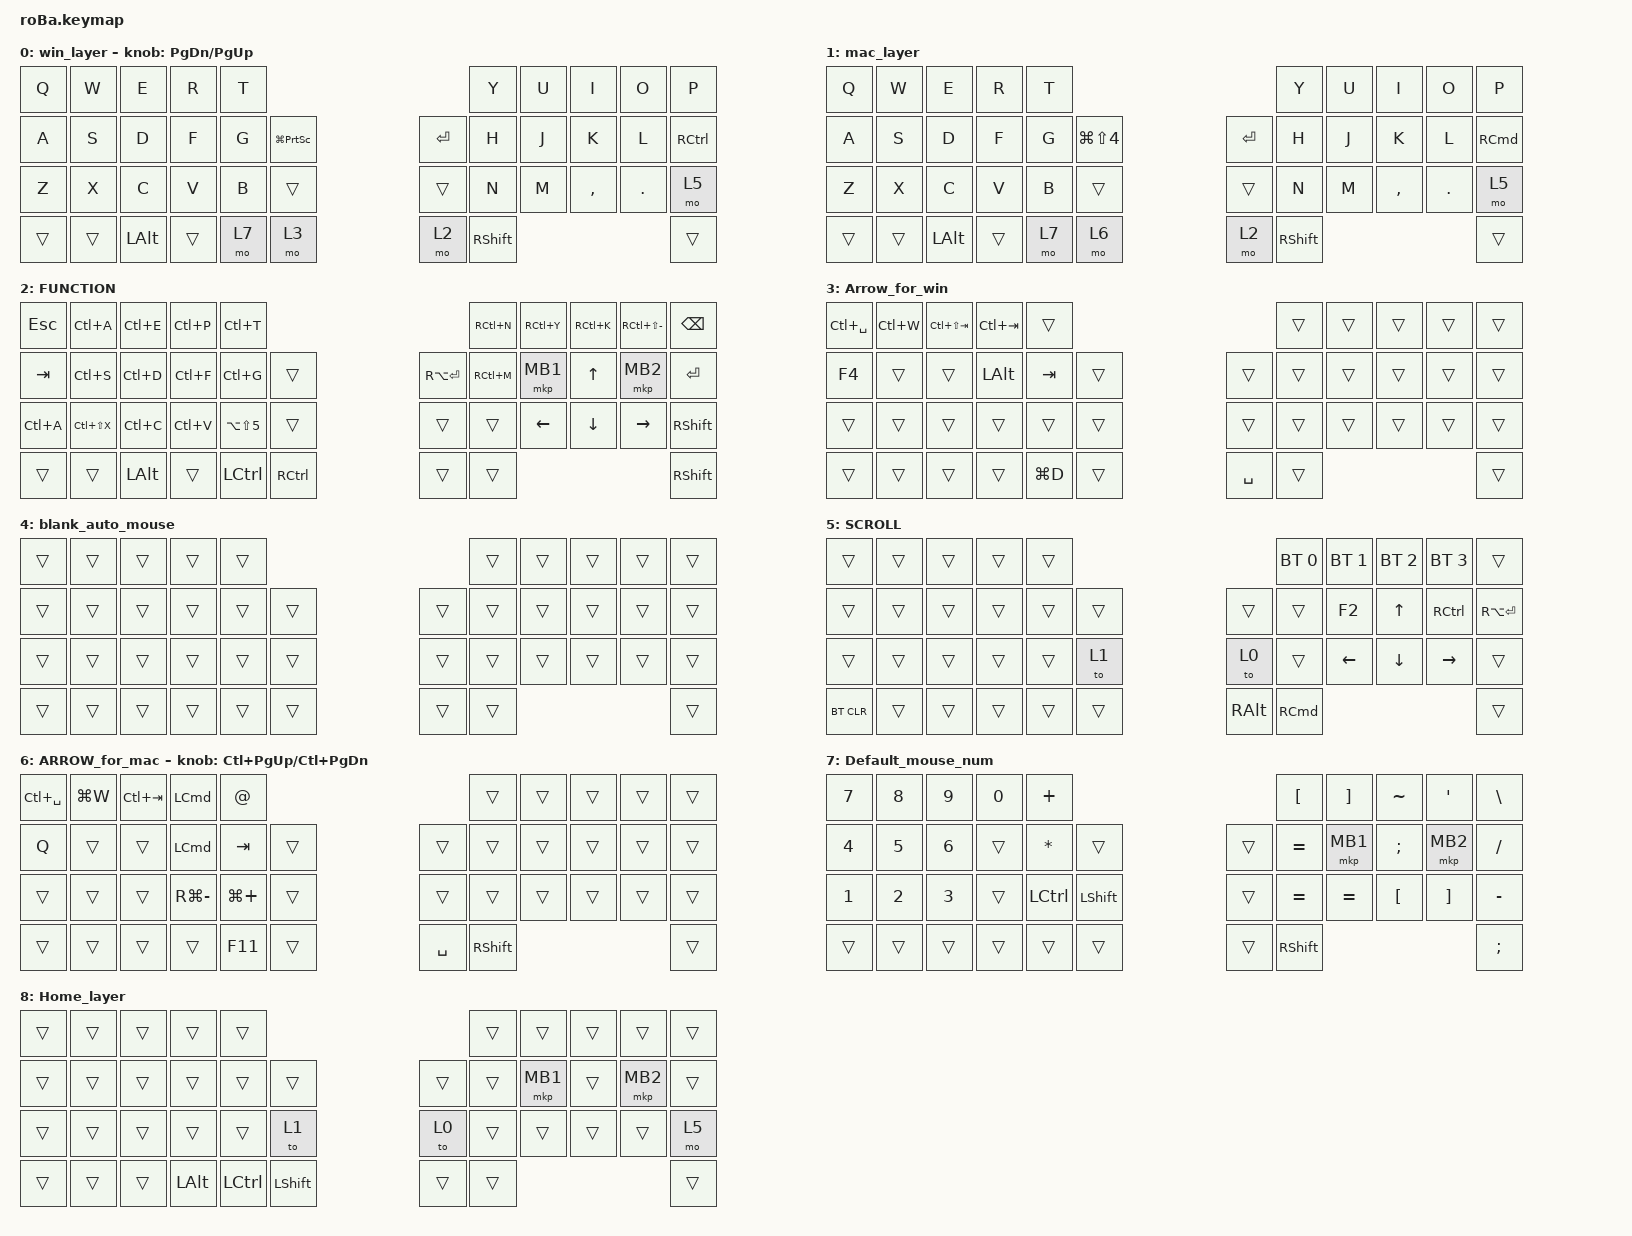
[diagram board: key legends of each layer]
#include <behaviors.dtsi>
#include <dt-bindings/zmk/bt.h>
#include <dt-bindings/zmk/keys.h>
#include <dt-bindings/zmk/pointing.h>

&mt {
    flavor = "balanced";
    quick-tap-ms = <0>;
};

&trackball {
    automouse-layer = <4>;
    scroll-layers = <5>;

    // arrows {
    //     layers = <3>;
    //     bindings =
    //         <&kp RIGHT_ARROW>,
    //         <&kp LEFT_ARROW>,
    //         <&kp UP_ARROW>,
    //         <&kp DOWN_ARROW>;
    //     tick = <10>;
    //     wait-ms = <5>;
    //     tap-ms = <5>;
    // };
};

/ {
    combos {
        compatible = "zmk,combos";

        tab {
            bindings = <&kp TAB>;
            key-positions = <11 12>;
        };

        shift_tab {
            bindings = <&kp LS(TAB)>;
            key-positions = <12 13>;
        };

        muhennkann {
            bindings = <&to_layer_0 INT_MUHENKAN>;
            key-positions = <11 10>;
        };

        double_quotation {
            bindings = <&kp DOUBLE_QUOTES>;
            key-positions = <20 21>;
        };

        eq {
            bindings = <&kp EQUAL>;
            key-positions = <24 25>;
        };
    };

    macros {
        to_layer_0: to_layer_0 {
            compatible = "zmk,behavior-macro-one-param";
            #binding-cells = <1>;
            bindings = <&macro_param_1to1 &kp MACRO_PLACEHOLDER>;
            label = "TO_LAYER_0";
        };
    };

    behaviors {
        lt_to_layer_0: lt_to_layer_0 {
            compatible = "zmk,behavior-hold-tap";
            label = "LAYER_TAP_TO_0";
            bindings = <&mo>, <&to_layer_0>;

            #binding-cells = <2>;
            tapping-term-ms = <200>;
        };
    };

    keymap {
        compatible = "zmk,keymap";

        win_layer {
            bindings = <
&kp Q   &kp W   &kp E         &kp R   &kp T                                      &kp Y            &kp U  &kp I      &kp O    &kp P
&kp A   &kp S   &kp D         &kp F   &kp G  &kp LG(PRINTSCREEN)      &kp ENTER  &kp H            &kp J  &kp K      &kp L    &kp RCTRL
&kp Z   &kp X   &kp C         &kp V   &kp B  &trans                   &trans     &kp N            &kp M  &kp COMMA  &kp DOT  &mo 5
&trans  &trans  &kp LEFT_ALT  &trans  &mo 7  &mo 3                    &mo 2      &kp RIGHT_SHIFT                             &trans
            >;

            sensor-bindings = <&inc_dec_kp PAGE_DOWN PG_UP>;
        };

        mac_layer {
            bindings = <
&kp Q   &kp W   &kp E         &kp R   &kp T                                       &kp Y            &kp U  &kp I      &kp O       &kp P
&kp A   &kp S   &kp D         &kp F   &kp G  &kp LG(LS(NUMBER_4))      &kp ENTER  &kp H            &kp J  &kp K      &kp L       &kp RIGHT_COMMAND
&kp Z   &kp X   &kp C         &kp V   &kp B  &trans                    &trans     &kp N            &kp M  &kp COMMA  &kp PERIOD  &mo 5
&trans  &trans  &kp LEFT_ALT  &trans  &mo 7  &mo 6                     &mo 2      &kp RIGHT_SHIFT                                &trans
            >;
        };

        FUNCTION {
            bindings = <
&kp ESC    &kp LC(A)      &kp LC(E)     &kp LC(P)  &kp LC(T)                                     &kp RC(N)  &kp RC(Y)  &kp RC(K)       &kp RC(LS(MINUS))  &kp BACKSPACE
&kp TAB    &kp LC(S)      &kp LC(D)     &kp LC(F)  &kp LC(G)       &trans         &kp RA(ENTER)  &kp RC(M)  &mkp MB1   &kp UP_ARROW    &mkp MB2           &kp ENTER
&kp LC(A)  &kp LC(LS(X))  &kp LC(C)     &kp LC(V)  &kp LA(LS(N5))  &trans         &trans         &trans     &kp LEFT   &kp DOWN_ARROW  &kp RIGHT          &kp RIGHT_SHIFT
&trans     &trans         &kp LEFT_ALT  &trans     &kp LCTRL       &kp RCTRL      &trans         &trans                                                   &kp RIGHT_SHIFT
            >;
        };

        Arrow_for_win {
            bindings = <
&kp LC(SPACE)  &kp LC(W)  &kp LC(LS(TAB))  &kp LC(TAB)   &trans                            &trans  &trans  &trans  &trans  &trans
&kp F4         &trans     &trans           &kp LEFT_ALT  &kp TAB    &trans      &trans     &trans  &trans  &trans  &trans  &trans
&trans         &trans     &trans           &trans        &trans     &trans      &trans     &trans  &trans  &trans  &trans  &trans
&trans         &trans     &trans           &trans        &kp LG(D)  &trans      &kp SPACE  &trans                          &trans
            >;
        };

        blank_auto_mouse {
            bindings = <
&trans  &trans  &trans  &trans  &trans                      &trans  &trans  &trans  &trans  &trans
&trans  &trans  &trans  &trans  &trans  &trans      &trans  &trans  &trans  &trans  &trans  &trans
&trans  &trans  &trans  &trans  &trans  &trans      &trans  &trans  &trans  &trans  &trans  &trans
&trans  &trans  &trans  &trans  &trans  &trans      &trans  &trans                          &trans
            >;
        };

        SCROLL {
            bindings = <
&trans      &trans  &trans  &trans  &trans                             &bt BT_SEL 0       &bt BT_SEL 1    &bt BT_SEL 2    &bt BT_SEL 3  &trans
&trans      &trans  &trans  &trans  &trans  &trans      &trans         &trans             &kp F2          &kp UP_ARROW    &kp RCTRL     &kp RA(ENTER)
&trans      &trans  &trans  &trans  &trans  &to 1       &to 0          &trans             &kp LEFT_ARROW  &kp DOWN_ARROW  &kp RIGHT     &trans
&bt BT_CLR  &trans  &trans  &trans  &trans  &trans      &kp RIGHT_ALT  &kp RIGHT_COMMAND                                                &trans
            >;
        };

        ARROW_for_mac {
            bindings = <
&kp LC(SPACE)  &kp LG(W)  &kp LC(TAB)  &kp LEFT_COMMAND  &kp AT_SIGN                          &trans           &trans  &trans  &trans  &trans
&kp Q          &trans     &trans       &kp LEFT_COMMAND  &kp TAB       &trans      &trans     &trans           &trans  &trans  &trans  &trans
&trans         &trans     &trans       &kp RG(MINUS)     &kp LG(PLUS)  &trans      &trans     &trans           &trans  &trans  &trans  &trans
&trans         &trans     &trans       &trans            &kp F11       &trans      &kp SPACE  &kp RIGHT_SHIFT                          &trans
            >;

            sensor-bindings = <&inc_dec_kp LC(PAGE_UP) LC(PAGE_DOWN)>;
        };

        Default_mouse_num {
            bindings = <
&kp N7        &kp N8        &kp N9        &kp N0  &kp PLUS                                  &kp LEFT_BRACKET  &kp RIGHT_BRACKET  &kp TILDE         &kp SQT            &kp BACKSLASH
&kp NUMBER_4  &kp N5        &kp NUMBER_6  &trans  &kp ASTERISK  &trans              &trans  &kp EQUAL         &mkp MB1           &kp SEMICOLON     &mkp MB2           &kp SLASH
&kp NUMBER_1  &kp NUMBER_2  &kp NUMBER_3  &trans  &kp LCTRL     &kp LEFT_SHIFT      &trans  &kp EQUAL         &kp EQUAL          &kp LEFT_BRACKET  &kp RIGHT_BRACKET  &kp MINUS
&trans        &trans        &trans        &trans  &trans        &trans              &trans  &kp RIGHT_SHIFT                                                           &kp SEMICOLON
            >;
        };

        Home_layer {
            bindings = <
&trans  &trans  &trans  &trans        &trans                                 &trans  &trans    &trans  &trans    &trans
&trans  &trans  &trans  &trans        &trans     &trans              &trans  &trans  &mkp MB1  &trans  &mkp MB2  &trans
&trans  &trans  &trans  &trans        &trans     &to 1               &to 0   &trans  &trans    &trans  &trans    &mo 5
&trans  &trans  &trans  &kp LEFT_ALT  &kp LCTRL  &kp LEFT_SHIFT      &trans  &trans                              &trans
            >;
        };
    };
};
